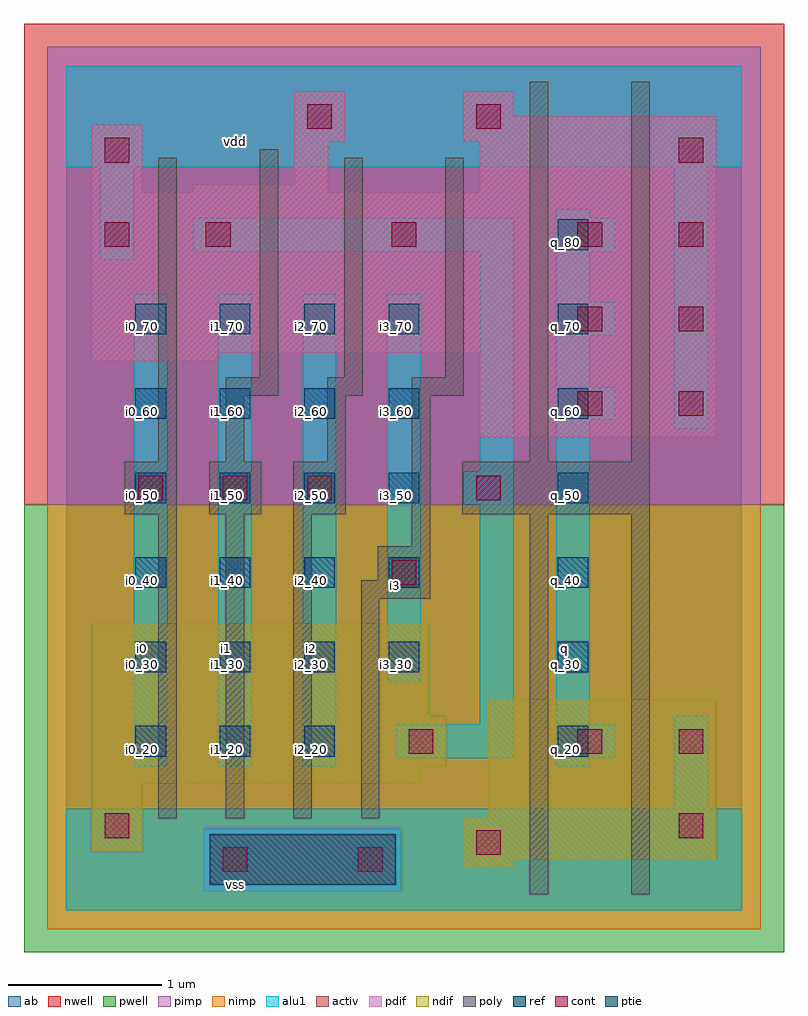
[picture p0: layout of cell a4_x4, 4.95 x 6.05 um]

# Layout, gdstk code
import gdstk
lib = gdstk.Library(unit=1e-6, precision=2.5e-09)
def R(c, l, rs):  # rectangles x0, y0, x1, y1
    for r in rs: c.add(gdstk.rectangle(r[:2], r[2:], *l))
def A(c, l, x, y, w, h, nx, ny, dx, dy):  # array of equal rectangles
    R(c, l, [(x+i*dx, y+j*dy, x+i*dx+w, y+j*dy+h) for i in range(nx) for j in range(ny)])
ndif = (3, 0)
pdif = (4, 0)
ptie = (6, 0)
ref = (24, 0)
cont = (25, 0)
pwell = (41, 0)
nwell = (42, 0)
activ = (43, 0)
pimp = (44, 0)
nimp = (45, 0)
poly = (46, 0)
alu1 = (49, 0)
ab = (63, 0)

a4_x4 = lib.new_cell('a4_x4')
R(a4_x4, ndif, [(2.585,0.275,2.915,0.33), (2.585,0.33,4.235,0.605), (0.165,0.385,0.495,0.825), (2.75,0.605,4.235,1.375), (0.165,0.825,2.31,0.935), (0.165,0.935,2.475,1.265), (0.165,1.265,2.365,1.87)])
R(a4_x4, pdif, [(2.695,3.08,4.235,3.63), (0.165,3.575,0.99,3.63), (0.165,3.63,4.235,4.675), (0.165,4.675,0.495,5.115), (0.825,4.675,1.705,4.73), (2.695,4.675,4.235,5.005), (1.485,4.73,1.705,5.005), (1.485,5.005,1.815,5.335), (2.585,5.005,4.235,5.17), (2.585,5.17,2.915,5.335)])
R(a4_x4, ptie, [(0.935,0.165,2.145,0.495)])
A(a4_x4, ref, 0.45, 1, 0.2, 0.2, 3, 1, 0.55, 0)
A(a4_x4, ref, 3.2, 1, 0.2, 0.2, 1, 7, 0, 0.55)
A(a4_x4, ref, 0.45, 1.55, 0.2, 0.2, 4, 5, 0.55, 0.55)
A(a4_x4, cont, 0.47, 2.67, 0.16, 0.16, 3, 1, 0.55, 0)
A(a4_x4, cont, 3.99, 3.22, 0.16, 0.16, 1, 4, 0, 0.55)
A(a4_x4, cont, 0.91, 4.32, 0.16, 0.16, 3, 1, 1.21, 0)
R(a4_x4, cont, [(1.02,0.25,1.18,0.41), (1.9,0.25,2.06,0.41), (2.67,0.36,2.83,0.52), (0.25,0.47,0.41,0.63), (3.99,0.47,4.15,0.63), (2.23,1.02,2.39,1.18), (3.33,1.02,3.49,1.18), (3.99,1.02,4.15,1.18), (2.12,2.12,2.28,2.28), (2.67,2.67,2.83,2.83), (3.33,3.22,3.49,3.38), (3.33,3.77,3.49,3.93), (0.25,4.32,0.41,4.48), (0.25,4.87,0.41,5.03), (1.57,5.09,1.73,5.25), (2.67,5.09,2.83,5.25)])
R(a4_x4, pwell, [(-0.275,-0.275,4.675,2.64)])
R(a4_x4, nwell, [(-0.275,2.64,4.675,5.775)])
R(a4_x4, activ, [(0.935,0.165,2.145,0.495), (2.585,0.275,2.915,0.33), (2.585,0.33,4.235,0.605), (0.165,0.385,0.495,0.825), (2.75,0.605,4.235,1.375), (0.165,0.825,2.31,0.935), (0.165,0.935,2.475,1.265), (0.165,1.265,2.365,1.87), (2.695,3.08,4.235,3.63), (0.165,3.575,0.99,3.63), (0.165,3.63,4.235,4.675), (0.165,4.675,0.495,5.115), (0.825,4.675,1.705,4.73), (2.695,4.675,4.235,5.005), (1.485,4.73,1.705,5.005), (1.485,5.005,1.815,5.335), (2.585,5.005,4.235,5.17), (2.585,5.17,2.915,5.335)])
R(a4_x4, pimp, [(0.895,0.125,2.185,0.535), (-0.125,2.64,4.525,5.625)])
R(a4_x4, nimp, [(-0.125,-0.125,4.525,0.125), (-0.125,0.125,0.895,0.535), (2.185,0.125,4.525,0.535), (-0.125,0.535,4.525,2.64)])
A(a4_x4, poly, 0.6, 0.6, 0.12, 1.98, 3, 1, 0.44, 0)
A(a4_x4, poly, 0.38, 2.58, 0.34, 0.34, 3, 1, 0.55, 0)
R(a4_x4, poly, [(3.02,0.105,3.14,2.58), (3.68,0.105,3.8,2.58), (1.92,0.6,2.04,2.03), (1.92,2.03,2.37,2.15), (2.03,2.15,2.37,2.37), (2.25,2.37,2.37,3.35), (2.58,2.58,3.8,2.92), (0.6,2.92,0.72,4.9), (1.04,2.92,1.16,3.35), (1.7,2.92,1.82,3.35), (3.02,2.92,3.14,5.395), (3.68,2.92,3.8,5.395), (1.04,3.35,1.38,3.47), (1.7,3.35,1.93,3.47), (2.25,3.35,2.59,3.47), (1.26,3.47,1.38,4.955), (1.81,3.47,1.93,4.9), (2.47,3.47,2.59,4.9)])
A(a4_x4, alu1, 0.44, 0.935, 0.22, 3.08, 3, 1, 0.55, 0)
A(a4_x4, alu1, 3.19, 3.19, 0.385, 0.22, 1, 3, 0, 0.55)
R(a4_x4, alu1, [(0,0,4.4,0.66), (3.96,0.66,4.18,1.265), (3.19,0.935,3.41,0.99), (2.145,0.99,2.915,1.21), (3.19,0.99,3.575,1.21), (2.695,1.21,2.915,2.64), (3.19,1.21,3.41,3.19), (2.09,1.485,2.31,4.015), (2.585,2.64,2.915,2.86), (2.695,2.86,2.915,4.29), (3.96,3.135,4.18,4.84), (3.19,3.41,3.41,3.74), (3.19,3.96,3.41,4.29), (0.22,4.235,0.44,4.84), (0.825,4.29,2.915,4.51), (3.19,4.51,3.41,4.565), (0,4.84,4.4,5.5)])
R(a4_x4, ab, [(0,0,4.4,5.5)])
a4_x4.add(gdstk.Label('vss', (1.1,0.165), layer=49, texttype=0))
a4_x4.add(gdstk.Label('q', (3.245,1.705), layer=49, texttype=0))
a4_x4.add(gdstk.Label('i3', (2.145,2.1175), layer=49, texttype=0))
a4_x4.add(gdstk.Label('i2', (1.595,1.705), layer=49, texttype=0))
a4_x4.add(gdstk.Label('i1', (1.045,1.705), layer=49, texttype=0))
a4_x4.add(gdstk.Label('i0', (0.495,1.705), layer=49, texttype=0))
a4_x4.add(gdstk.Label('vdd', (1.1,5.005), layer=49, texttype=0))
a4_x4.add(gdstk.Label('i2_20', (1.6,1.05), layer=24, texttype=0))
a4_x4.add(gdstk.Label('i1_20', (1.05,1.05), layer=24, texttype=0))
a4_x4.add(gdstk.Label('i0_20', (0.5,1.05), layer=24, texttype=0))
a4_x4.add(gdstk.Label('q_20', (3.25,1.05), layer=24, texttype=0))
a4_x4.add(gdstk.Label('q_30', (3.25,1.6), layer=24, texttype=0))
a4_x4.add(gdstk.Label('q_40', (3.25,2.15), layer=24, texttype=0))
a4_x4.add(gdstk.Label('q_50', (3.25,2.7), layer=24, texttype=0))
a4_x4.add(gdstk.Label('q_60', (3.25,3.25), layer=24, texttype=0))
a4_x4.add(gdstk.Label('q_70', (3.25,3.8), layer=24, texttype=0))
a4_x4.add(gdstk.Label('q_80', (3.25,4.35), layer=24, texttype=0))
a4_x4.add(gdstk.Label('i1_50', (1.05,2.7), layer=24, texttype=0))
a4_x4.add(gdstk.Label('i1_40', (1.05,2.15), layer=24, texttype=0))
a4_x4.add(gdstk.Label('i1_30', (1.05,1.6), layer=24, texttype=0))
a4_x4.add(gdstk.Label('i2_30', (1.6,1.6), layer=24, texttype=0))
a4_x4.add(gdstk.Label('i2_40', (1.6,2.15), layer=24, texttype=0))
a4_x4.add(gdstk.Label('i1_70', (1.05,3.8), layer=24, texttype=0))
a4_x4.add(gdstk.Label('i2_60', (1.6,3.25), layer=24, texttype=0))
a4_x4.add(gdstk.Label('i2_70', (1.6,3.8), layer=24, texttype=0))
a4_x4.add(gdstk.Label('i3_70', (2.15,3.8), layer=24, texttype=0))
a4_x4.add(gdstk.Label('i3_60', (2.15,3.25), layer=24, texttype=0))
a4_x4.add(gdstk.Label('i3_50', (2.15,2.7), layer=24, texttype=0))
a4_x4.add(gdstk.Label('i3_40', (2.15,2.15), layer=24, texttype=0))
a4_x4.add(gdstk.Label('i3_30', (2.15,1.6), layer=24, texttype=0))
a4_x4.add(gdstk.Label('i1_60', (1.05,3.25), layer=24, texttype=0))
a4_x4.add(gdstk.Label('i2_50', (1.6,2.7), layer=24, texttype=0))
a4_x4.add(gdstk.Label('i0_70', (0.5,3.8), layer=24, texttype=0))
a4_x4.add(gdstk.Label('i0_60', (0.5,3.25), layer=24, texttype=0))
a4_x4.add(gdstk.Label('i0_50', (0.5,2.7), layer=24, texttype=0))
a4_x4.add(gdstk.Label('i0_40', (0.5,2.15), layer=24, texttype=0))
a4_x4.add(gdstk.Label('i0_30', (0.5,1.6), layer=24, texttype=0))

lib.write_gds('a4_x4.gds')
